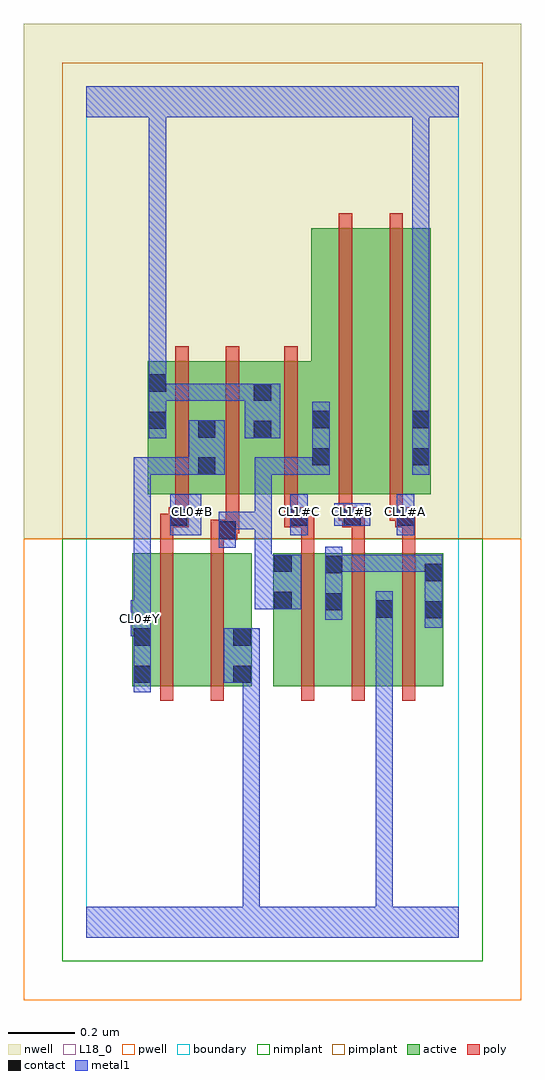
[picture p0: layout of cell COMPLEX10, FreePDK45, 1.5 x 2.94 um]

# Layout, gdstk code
import gdstk
lib = gdstk.Library(unit=1e-6, precision=1e-09)
def R(c, l, rs):  # rectangles x0, y0, x1, y1
    for r in rs: c.add(gdstk.rectangle(r[:2], r[2:], *l))
def A(c, l, x, y, w, h, nx, ny, dx, dy):  # array of equal rectangles
    R(c, l, [(x+i*dx, y+j*dy, x+i*dx+w, y+j*dy+h) for i in range(nx) for j in range(ny)])
active = (1, 0)
pwell = (2, 0)
nwell = (3, 0)
nimplant = (4, 0)
pimplant = (5, 0)
poly = (9, 0)
contact = (10, 0)
metal1 = (11, 0)
L18_0 = (18, 0)
boundary = (235, 0)

complex10 = lib.new_cell('COMPLEX10')
R(complex10, active, [(0.138,0.756,0.198,1.156), (0.138,0.756,0.318,1.156), (0.318,0.756,0.498,1.156), (0.438,0.756,0.498,1.156), (0.562,0.756,0.622,1.156), (0.562,0.756,0.774,1.156), (0.714,0.756,0.774,1.156), (0.714,0.756,0.926,1.156), (0.866,0.756,1.074,1.156), (0.866,0.756,0.926,1.018), (1.014,0.756,1.074,1.156), (0.184,1.334,0.244,1.734), (0.184,1.334,0.392,1.734), (0.332,1.334,0.56,1.734), (0.332,1.334,0.392,1.644), (0.5,1.334,0.736,1.734), (0.5,1.334,0.56,1.696), (0.676,1.334,0.856,2.134), (0.676,1.334,0.736,1.892), (0.856,1.334,1.036,2.134), (0.976,1.334,1.036,2.1)])
R(complex10, pwell, [(-0.188,-0.188,1.308,1.2)])
R(complex10, nwell, [(-0.188,1.2,1.308,2.748)])
R(complex10, nimplant, [(-0.072,-0.072,1.192,1.2)])
R(complex10, pimplant, [(-0.072,1.2,1.192,2.632)])
A(complex10, poly, 0.646, 0.712, 0.04, 0.488, 3, 1, 0.152, 0)
A(complex10, poly, 0.646, 1.16, 0.04, 0.114, 3, 1, 0.152, 0)
R(complex10, poly, [(0.222,0.712,0.262,1.2), (0.374,0.712,0.414,1.2), (0.222,1.16,0.262,1.274), (0.374,1.16,0.414,1.236), (0.374,1.196,0.454,1.256), (0.414,1.216,0.454,1.256), (0.414,1.216,0.46,1.256), (0.42,1.216,0.46,1.33), (0.222,1.234,0.288,1.274), (0.248,1.234,0.288,1.274), (0.248,1.234,0.308,1.294), (0.596,1.234,0.67,1.294), (0.63,1.234,0.67,1.274), (0.63,1.234,0.686,1.274), (0.77,1.234,0.838,1.294), (0.93,1.234,0.99,1.294), (0.268,1.254,0.308,1.33), (0.596,1.254,0.636,1.33), (0.76,1.254,0.8,1.33), (0.76,1.254,0.81,1.294), (0.77,1.254,0.81,1.294), (0.912,1.254,0.952,1.33), (0.912,1.254,0.97,1.294), (0.93,1.254,0.97,1.294), (0.268,1.29,0.308,1.778), (0.42,1.29,0.46,1.778), (0.596,1.29,0.636,1.778), (0.76,1.29,0.8,2.178), (0.912,1.29,0.952,2.178)])
A(complex10, contact, 0.614, 1.238, 0.052, 0.052, 3, 1, 0.16, 0)
R(complex10, contact, [(0.142,0.766,0.194,0.818), (0.442,0.766,0.494,0.818), (0.142,0.878,0.194,0.93), (0.442,0.878,0.494,0.93), (1.018,0.96,1.07,1.012), (0.87,0.962,0.922,1.014), (0.718,0.984,0.77,1.036), (0.566,0.988,0.618,1.04), (1.018,1.072,1.07,1.124), (0.718,1.096,0.77,1.148), (0.566,1.1,0.618,1.152), (0.398,1.2,0.45,1.252), (0.252,1.238,0.304,1.29), (0.336,1.392,0.388,1.444), (0.68,1.42,0.732,1.472), (0.98,1.42,1.032,1.472), (0.504,1.502,0.556,1.554), (0.336,1.504,0.388,1.556), (0.188,1.53,0.24,1.582), (0.68,1.532,0.732,1.584), (0.98,1.532,1.032,1.584), (0.504,1.614,0.556,1.666), (0.188,1.642,0.24,1.694)])
R(complex10, metal1, [(0,0,1.12,0.092), (0.47,0.04,0.522,0.092), (0.47,0.04,0.522,0.092), (0.47,0.04,0.522,0.818), (0.87,0.04,0.922,0.092), (0.87,0.04,0.922,0.092), (0.87,0.04,0.922,0.092), (0.87,0.04,0.922,0.092), (0.87,0.04,0.922,0.092), (0.87,0.04,0.922,0.092), (0.87,0.04,0.922,0.092), (0.87,0.04,0.922,0.092), (0.87,0.04,0.922,0.092), (0.87,0.04,0.922,0.092), (0.87,0.04,0.922,0.092), (0.87,0.04,0.922,0.092), (0.87,0.04,0.922,0.986), (0.142,0.738,0.194,0.958), (0.414,0.766,0.522,0.93), (0.47,0.766,0.522,0.818), (0.47,0.766,0.522,0.818), (0.47,0.766,0.522,0.818), (0.47,0.766,0.522,0.818), (0.47,0.766,0.522,0.818), (0.47,0.766,0.522,0.818), (0.47,0.766,0.522,0.818), (0.47,0.766,0.522,0.818), (0.47,0.766,0.522,0.818), (0.47,0.766,0.522,0.818), (0.134,0.906,0.194,1.014), (0.142,0.906,0.194,0.958), (1.018,0.932,1.07,1.152), (0.87,0.934,0.922,1.042), (0.718,0.956,0.77,1.176), (0.142,0.962,0.194,1.444), (0.506,0.988,0.646,1.152), (0.506,1.1,0.558,1.28), (0.718,1.1,0.77,1.152), (0.718,1.1,0.77,1.152), (0.718,1.1,0.922,1.152), (0.87,1.1,0.922,1.152), (0.87,1.1,0.922,1.152), (0.87,1.1,0.922,1.152), (0.87,1.1,1.07,1.152), (0.398,1.172,0.45,1.28), (0.252,1.21,0.346,1.334), (0.614,1.21,0.666,1.334), (0.934,1.21,0.986,1.334), (0.398,1.228,0.46,1.28), (0.408,1.228,0.46,1.28), (0.408,1.228,0.558,1.28), (0.506,1.228,0.558,1.28), (0.506,1.228,0.558,1.444), (0.746,1.238,0.854,1.306), (0.142,1.392,0.194,1.444), (0.142,1.392,0.194,1.444), (0.142,1.392,0.194,1.444), (0.142,1.392,0.194,1.444), (0.142,1.392,0.194,1.444), (0.142,1.392,0.36,1.444), (0.308,1.392,0.416,1.556), (0.506,1.392,0.558,1.444), (0.506,1.392,0.558,1.444), (0.506,1.392,0.558,1.444), (0.506,1.392,0.57,1.444), (0.518,1.392,0.57,1.444), (0.518,1.392,0.732,1.444), (0.68,1.392,0.732,1.612), (0.98,1.392,1.032,1.612), (0.188,1.502,0.24,1.722), (0.476,1.502,0.584,1.666), (0.98,1.56,1.032,1.612), (0.98,1.56,1.032,1.612), (0.98,1.56,1.032,1.612), (0.98,1.56,1.032,1.612), (0.98,1.56,1.032,1.612), (0.98,1.56,1.032,1.612), (0.98,1.56,1.032,1.612), (0.98,1.56,1.032,1.612), (0.98,1.56,1.032,2.52), (0.188,1.614,0.24,1.666), (0.188,1.614,0.24,1.666), (0.188,1.614,0.35,1.666), (0.298,1.614,0.35,1.666), (0.298,1.614,0.35,1.666), (0.298,1.614,0.35,1.666), (0.298,1.614,0.528,1.666), (0.188,1.67,0.24,1.722), (0.188,1.67,0.24,1.722), (0.188,1.67,0.24,1.722), (0.188,1.67,0.24,1.722), (0.188,1.67,0.24,1.722), (0.188,1.67,0.24,1.722), (0.188,1.67,0.24,1.722), (0.188,1.67,0.24,1.722), (0.188,1.67,0.24,1.722), (0.188,1.67,0.24,1.722), (0.188,1.67,0.24,1.722), (0.188,1.67,0.24,1.722), (0.188,1.67,0.24,1.722), (0.188,1.67,0.24,1.722), (0.188,1.67,0.24,1.722), (0.188,1.67,0.24,1.722), (0.188,1.67,0.24,2.52), (0,2.468,1.12,2.56)])
A(complex10, L18_0, 0.614, 1.254, 0.052, 0.052, 3, 1, 0.16, 0)
R(complex10, L18_0, [(0,0,1.12,0.092), (0.47,0.04,0.522,0.092), (0.47,0.04,0.522,0.092), (0.47,0.04,0.522,0.818), (0.87,0.04,0.922,0.092), (0.87,0.04,0.922,0.092), (0.87,0.04,0.922,0.092), (0.87,0.04,0.922,0.092), (0.87,0.04,0.922,0.092), (0.87,0.04,0.922,0.092), (0.87,0.04,0.922,0.092), (0.87,0.04,0.922,0.092), (0.87,0.04,0.922,0.092), (0.87,0.04,0.922,0.092), (0.87,0.04,0.922,0.092), (0.87,0.04,0.922,0.092), (0.87,0.04,0.922,0.986), (0.142,0.738,0.194,0.958), (0.414,0.766,0.522,0.93), (0.47,0.766,0.522,0.818), (0.47,0.766,0.522,0.818), (0.47,0.766,0.522,0.818), (0.47,0.766,0.522,0.818), (0.47,0.766,0.522,0.818), (0.47,0.766,0.522,0.818), (0.47,0.766,0.522,0.818), (0.47,0.766,0.522,0.818), (0.47,0.766,0.522,0.818), (0.47,0.766,0.522,0.818), (0.134,0.906,0.194,1.014), (0.142,0.906,0.194,0.958), (0.134,0.934,0.186,0.986), (0.87,0.934,0.922,1.042), (0.142,0.962,0.194,1.444), (0.252,1.21,0.346,1.334), (0.614,1.21,0.666,1.334), (0.934,1.21,0.986,1.334), (0.746,1.238,0.854,1.306), (0.294,1.254,0.346,1.306), (0.142,1.392,0.194,1.444), (0.142,1.392,0.194,1.444), (0.142,1.392,0.194,1.444), (0.142,1.392,0.194,1.444), (0.142,1.392,0.194,1.444), (0.142,1.392,0.36,1.444), (0.308,1.392,0.416,1.556), (0.98,1.392,1.032,1.612), (0.188,1.502,0.24,1.722), (0.476,1.502,0.584,1.666), (0.98,1.56,1.032,1.612), (0.98,1.56,1.032,1.612), (0.98,1.56,1.032,1.612), (0.98,1.56,1.032,1.612), (0.98,1.56,1.032,1.612), (0.98,1.56,1.032,1.612), (0.98,1.56,1.032,1.612), (0.98,1.56,1.032,1.612), (0.98,1.56,1.032,2.52), (0.188,1.614,0.24,1.666), (0.188,1.614,0.24,1.666), (0.188,1.614,0.35,1.666), (0.298,1.614,0.35,1.666), (0.298,1.614,0.35,1.666), (0.298,1.614,0.35,1.666), (0.298,1.614,0.528,1.666), (0.188,1.67,0.24,1.722), (0.188,1.67,0.24,1.722), (0.188,1.67,0.24,1.722), (0.188,1.67,0.24,1.722), (0.188,1.67,0.24,1.722), (0.188,1.67,0.24,1.722), (0.188,1.67,0.24,1.722), (0.188,1.67,0.24,1.722), (0.188,1.67,0.24,1.722), (0.188,1.67,0.24,1.722), (0.188,1.67,0.24,1.722), (0.188,1.67,0.24,1.722), (0.188,1.67,0.24,1.722), (0.188,1.67,0.24,1.722), (0.188,1.67,0.24,1.722), (0.188,1.67,0.24,1.722), (0.188,1.67,0.24,2.52), (0,2.468,1.12,2.56)])
R(complex10, boundary, [(0,0,1.12,2.56)])
complex10.add(gdstk.Label('CL0#B', (0.32,1.28), layer=11, texttype=0))
complex10.add(gdstk.Label('CL0#Y', (0.16,0.96), layer=11, texttype=0))
complex10.add(gdstk.Label('CL1#A', (0.96,1.28), layer=11, texttype=0))
complex10.add(gdstk.Label('CL1#B', (0.8,1.28), layer=11, texttype=0))
complex10.add(gdstk.Label('CL1#C', (0.64,1.28), layer=11, texttype=0))

lib.write_gds('COMPLEX10.gds')
